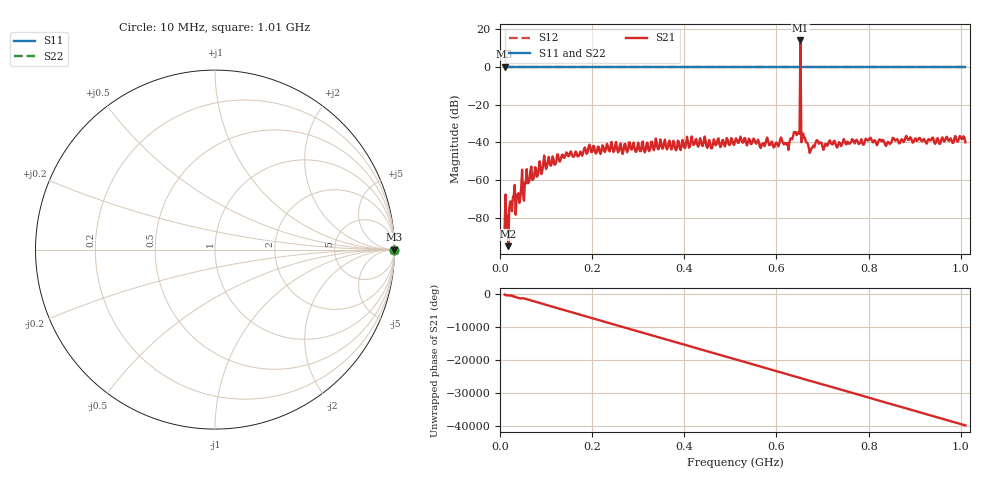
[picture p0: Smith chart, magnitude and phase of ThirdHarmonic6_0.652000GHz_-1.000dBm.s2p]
! 8/15/2025 9:38:42 PM
! C:\ANRITSUVNA\TEMP\TEMP.S2P
! CHANNEL.1
! TR.MEASUREMENT
! RAW.DATA
! RF.CORRECTION.OFF
! AVERAGING.OFF
! IF.BANDWIDTH: 5KHZ
! SWEEPTYPE:  FREQ.SWEEP(Linear)
! Reference Plane Port Info
! PORT:  PORT1  PORT2
! DISTANCE:  0  m  0  m
! TIME:  0  s  0  s
! PHASE.OFFSET:  0  deg.  0  deg.
! LOSS:  0  dB  0  dB
! REF.LOSS:  0  dB  0  dB
! REF.FREQ:  0  Hz  0  Hz
! Power Info
! POWER:  -20  dBm  -20  dBm
! EFF.POWER:  -20  dBm  -20  dBm
! SOURCE.ATTEN:  0  dB  0  dB
! TEST.ATTEN:  0  dB  0  dB
# GHZ S RI R 50.0
! FREQ.GHZ  S11RE  S11IM  S21RE  S21IM  S12RE  S12IM  S22RE  S22IM
!; PortSelection: Port_12
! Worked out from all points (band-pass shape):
!   501 points, 10 MHz to 1.01 GHz, reference 50 ohm
!   highest |S21| = 13.79 dB at 652 MHz (marker M1); lowest = -94.7 dB at 18 MHz (marker M2)
!   |S21| within 3 dB of the highest: 651.8784 MHz to 652.1117 MHz (233.3 kHz wide, 0.0358 % of centre)
!   lowest |S11| = 0.0 dB at 10 MHz (marker M3)
!   |S11| at or under -10 dB: nowhere
!   |S22| runs from 0.0 to 0.0 dB; largest |S21 - S12| = 5.8
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0.01  1 0  5.03e-05 -1.7e-05  1 0  1 0
0.018  1 0  -1.03e-05 1.52e-05  1 0  1 0
0.028  1 0  -0.000351 -8.25e-05  1 0  1 0
0.038  1 0  -0.000303 0.000299  1 0  1 0
0.044  1 0  -0.000119 -0.00032  1 0  1 0
0.062  1 0  -0.000762 -0.000376  1 0  1 0
0.098  1 0  -0.00249 0.000849  1 0  1 0
0.178  1 0  -0.00446 0.000148  1 0  1 0
0.344  1 0  0.00579 -0.0031  1 0  1 0
0.51  1 0  -0.00835 0.00626  1 0  1 0
0.624  1 0  -0.00459 -0.00852  1 0  1 0
0.646  1 0  0.00978 0.0149  1 0  1 0
0.648  1 0  0.0154 -0.0109  1 0  1 0
0.652  1 0  -4.559 -1.781  1 0  1 0
0.656  1 0  0.0151 0.00248  1 0  1 0
0.658  1 0  -0.00042 -0.0172  1 0  1 0
0.678  1 0  -0.0062 -0.00395  1 0  1 0
0.69  1 0  0.00131 0.0107  1 0  1 0
0.704  1 0  -0.00235 -0.00725  1 0  1 0
0.802  1 0  -7.24e-05 -0.0128  1 0  1 0
0.844  1 0  0.00955 0.00248  1 0  1 0
1.01  1 0  -0.00949 0.0035  1 0  1 0
